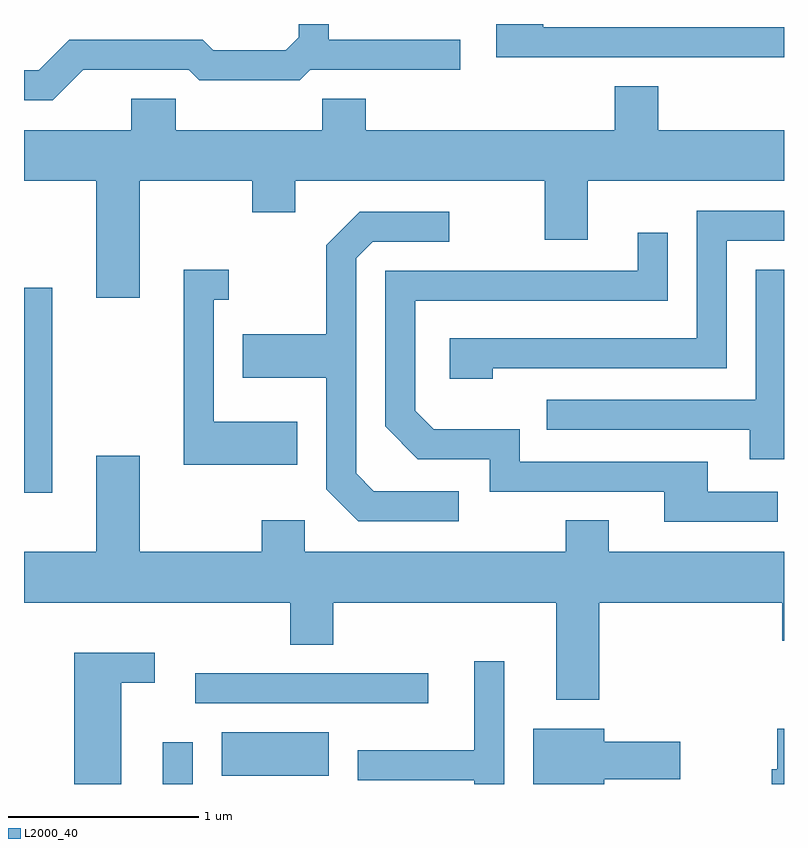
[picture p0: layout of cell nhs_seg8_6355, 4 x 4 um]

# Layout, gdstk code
import gdstk
lib = gdstk.Library(unit=1e-6, precision=1e-09)
def R(c, l, rs):  # rectangles x0, y0, x1, y1
    for r in rs: c.add(gdstk.rectangle(r[:2], r[2:], *l))
def P(c, l, *ps):  # polygons
    for p in ps: c.add(gdstk.Polygon(p, *l))
L2000_40 = (2000, 40)

nhs_seg8_6355 = lib.new_cell('nhs_seg8_6355')
R(nhs_seg8_6355, L2000_40, [(376.341,1844.342,376.499,1844.563), (376.651,1844.386,377.214,1844.614), (376.513,1844.766,377.738,1844.924), (375.611,1845.876,375.759,1846.954)])
P(nhs_seg8_6355, L2000_40, [(379.611,1848.324),(378.344,1848.324),(378.344,1848.342),(378.096,1848.342),(378.096,1848.166),(379.611,1848.166)],
  [(375.922,1848.101),(376.479,1848.101),(376.534,1848.046),(377.062,1848.046),(377.117,1848.101),(377.908,1848.101),(377.908,1848.259),(377.214,1848.259),(377.214,1848.342),(377.056,1848.342),(377.056,1848.272),(376.989,1848.204),(376.607,1848.204),(376.552,1848.259),(375.849,1848.259),(375.689,1848.099),(375.611,1848.099),(375.611,1847.941),(375.762,1847.941)],
  [(376.219,1847.516),(376.811,1847.516),(376.811,1847.351),(377.039,1847.351),(377.039,1847.516),(378.351,1847.516),(378.351,1847.206),(378.579,1847.206),(378.579,1847.516),(379.611,1847.516),(379.611,1847.784),(378.949,1847.784),(378.949,1848.014),(378.721,1848.014),(378.721,1847.784),(377.409,1847.784),(377.409,1847.949),(377.181,1847.949),(377.181,1847.784),(376.409,1847.784),(376.409,1847.949),(376.176,1847.949),(376.176,1847.784),(375.611,1847.784),(375.611,1847.516),(375.991,1847.516),(375.991,1846.901),(376.219,1846.901)],
  [(378.079,1846.531),(379.309,1846.531),(379.309,1847.201),(379.611,1847.201),(379.611,1847.359),(379.151,1847.359),(379.151,1846.689),(377.851,1846.689),(377.851,1846.476),(378.079,1846.476)],
  [(377.898,1845.884),(377.452,1845.884),(377.359,1845.977),(377.359,1847.109),(377.447,1847.196),(377.848,1847.196),(377.848,1847.354),(377.379,1847.354),(377.201,1847.177),(377.201,1846.709),(376.761,1846.709),(376.761,1846.481),(377.201,1846.481),(377.201,1845.894),(377.369,1845.726),(377.898,1845.726)],
  [(379.578,1845.879),(379.209,1845.879),(379.209,1846.039),(378.219,1846.039),(378.219,1846.209),(377.767,1846.209),(377.669,1846.307),(377.669,1846.886),(378.999,1846.886),(378.999,1847.243),(378.841,1847.243),(378.841,1847.044),(377.511,1847.044),(377.511,1846.224),(377.684,1846.051),(378.061,1846.051),(378.061,1845.881),(378.981,1845.881),(378.981,1845.721),(379.578,1845.721)],
  [(377.049,1846.249),(376.609,1846.249),(376.609,1846.891),(376.688,1846.891),(376.688,1847.049),(376.451,1847.049),(376.451,1846.021),(377.049,1846.021)],
  [(379.611,1847.049),(379.461,1847.049),(379.461,1846.364),(378.363,1846.364),(378.363,1846.206),(379.431,1846.206),(379.431,1846.051),(379.611,1846.051)],
  [(378.639,1845.296),(379.601,1845.296),(379.601,1845.096),(379.611,1845.096),(379.611,1845.564),(378.689,1845.564),(378.689,1845.729),(378.461,1845.729),(378.461,1845.564),(377.089,1845.564),(377.089,1845.729),(376.861,1845.729),(376.861,1845.564),(376.219,1845.564),(376.219,1846.069),(375.991,1846.069),(375.991,1845.564),(375.611,1845.564),(375.611,1845.296),(377.011,1845.296),(377.011,1845.076),(377.239,1845.076),(377.239,1845.296),(378.411,1845.296),(378.411,1844.786),(378.639,1844.786)],
  [(376.124,1844.876),(376.298,1844.876),(376.298,1845.034),(375.876,1845.034),(375.876,1844.342),(376.124,1844.342)],
  [(378.139,1844.988),(377.981,1844.988),(377.981,1844.519),(377.368,1844.519),(377.368,1844.361),(377.981,1844.361),(377.981,1844.342),(378.139,1844.342)],
  [(379.611,1844.634),(379.576,1844.634),(379.576,1844.419),(379.546,1844.419),(379.546,1844.342),(379.611,1844.342)],
  [(378.664,1844.366),(379.064,1844.366),(379.064,1844.564),(378.664,1844.564),(378.664,1844.634),(378.291,1844.634),(378.291,1844.342),(378.664,1844.342)])

lib.write_gds('nhs_seg8_6355.gds')
